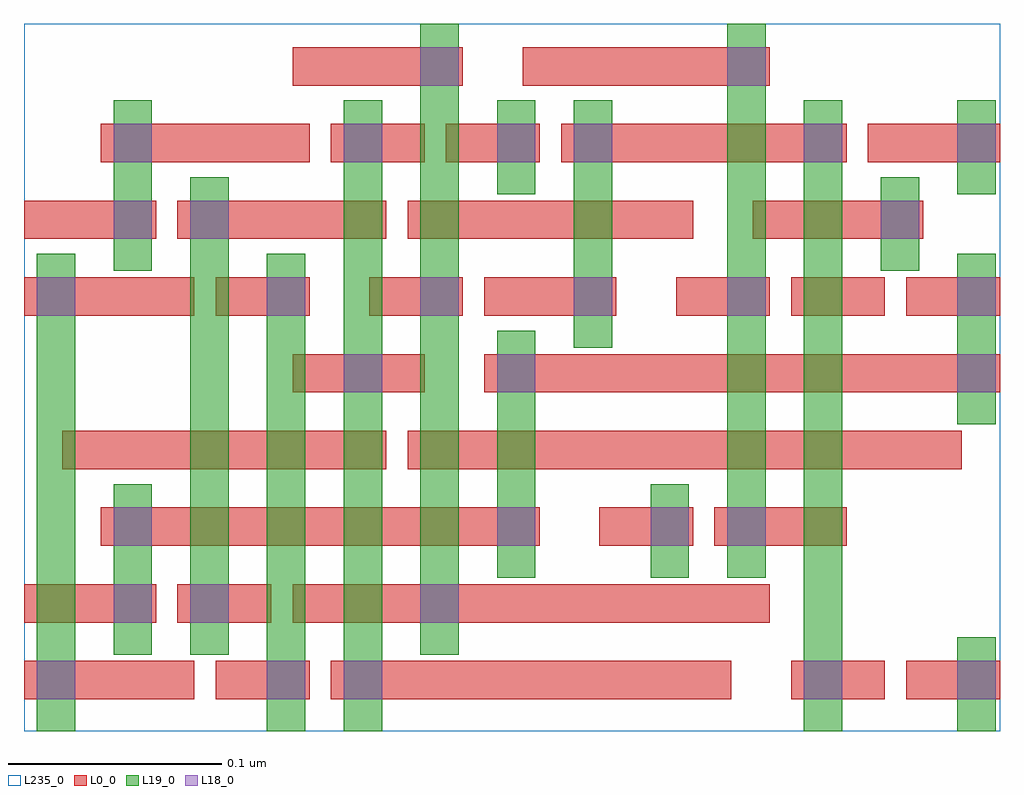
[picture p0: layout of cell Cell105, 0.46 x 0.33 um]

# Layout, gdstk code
import gdstk
lib = gdstk.Library(unit=1e-6, precision=2.5e-10)
def R(c, l, rs):  # rectangles x0, y0, x1, y1
    for r in rs: c.add(gdstk.rectangle(r[:2], r[2:], *l))
def A(c, l, x, y, w, h, nx, ny, dx, dy):  # array of equal rectangles
    R(c, l, [(x+i*dx, y+j*dy, x+i*dx+w, y+j*dy+h) for i in range(nx) for j in range(ny)])
L0_0 = (0, 0)
L18_0 = (18, 0)
L19_0 = (19, 0)
L235_0 = (235, 0)

cell105 = lib.new_cell('Cell105')
A(cell105, L0_0, 0.31, 0.179, 0.044, 0.018, 3, 1, 0.054, 0)
R(cell105, L0_0, [(0.004,-0.001,0.084,0.017), (0.094,-0.001,0.138,0.017), (0.148,-0.001,0.336,0.017), (0.364,-0.001,0.408,0.017), (0.418,-0.001,0.462,0.017), (0.004,0.035,0.066,0.053), (0.076,0.035,0.12,0.053), (0.13,0.035,0.354,0.053), (0.04,0.071,0.246,0.089), (0.274,0.071,0.318,0.089), (0.328,0.071,0.39,0.089), (0.022,0.107,0.174,0.125), (0.184,0.107,0.444,0.125), (0.13,0.143,0.192,0.161), (0.22,0.143,0.462,0.161), (0.004,0.179,0.084,0.197), (0.094,0.179,0.138,0.197), (0.166,0.179,0.21,0.197), (0.22,0.179,0.282,0.197), (0.004,0.215,0.066,0.233), (0.076,0.215,0.174,0.233), (0.184,0.215,0.318,0.233), (0.346,0.215,0.426,0.233), (0.04,0.251,0.138,0.269), (0.148,0.251,0.192,0.269), (0.202,0.251,0.246,0.269), (0.256,0.251,0.39,0.269), (0.4,0.251,0.462,0.269), (0.13,0.287,0.21,0.305), (0.238,0.287,0.354,0.305)])
A(cell105, L18_0, 0.118, 0.179, 0.018, 0.018, 4, 1, 0.072, 0)
R(cell105, L18_0, [(0.01,-0.001,0.028,0.017), (0.118,-0.001,0.136,0.017), (0.154,-0.001,0.172,0.017), (0.37,-0.001,0.388,0.017), (0.442,-0.001,0.46,0.017), (0.046,0.035,0.064,0.053), (0.082,0.035,0.1,0.053), (0.19,0.035,0.208,0.053), (0.046,0.071,0.064,0.089), (0.226,0.071,0.244,0.089), (0.298,0.071,0.316,0.089), (0.334,0.071,0.352,0.089), (0.154,0.143,0.172,0.161), (0.226,0.143,0.244,0.161), (0.442,0.143,0.46,0.161), (0.01,0.179,0.028,0.197), (0.442,0.179,0.46,0.197), (0.046,0.215,0.064,0.233), (0.082,0.215,0.1,0.233), (0.406,0.215,0.424,0.233), (0.046,0.251,0.064,0.269), (0.154,0.251,0.172,0.269), (0.226,0.251,0.244,0.269), (0.262,0.251,0.28,0.269), (0.37,0.251,0.388,0.269), (0.442,0.251,0.46,0.269), (0.19,0.287,0.208,0.305), (0.334,0.287,0.352,0.305)])
R(cell105, L19_0, [(0.01,-0.016,0.028,0.208), (0.118,-0.016,0.136,0.208), (0.154,-0.016,0.172,0.28), (0.37,-0.016,0.388,0.28), (0.442,-0.016,0.46,0.028), (0.046,0.02,0.064,0.1), (0.082,0.02,0.1,0.244), (0.19,0.02,0.208,0.316), (0.226,0.056,0.244,0.172), (0.298,0.056,0.316,0.1), (0.334,0.056,0.352,0.316), (0.442,0.128,0.46,0.208), (0.262,0.164,0.28,0.28), (0.046,0.2,0.064,0.28), (0.406,0.2,0.424,0.244), (0.226,0.236,0.244,0.28), (0.442,0.236,0.46,0.28)])
R(cell105, L235_0, [(0.004,-0.016,0.462,0.316)])

lib.write_gds('Cell105.gds')
